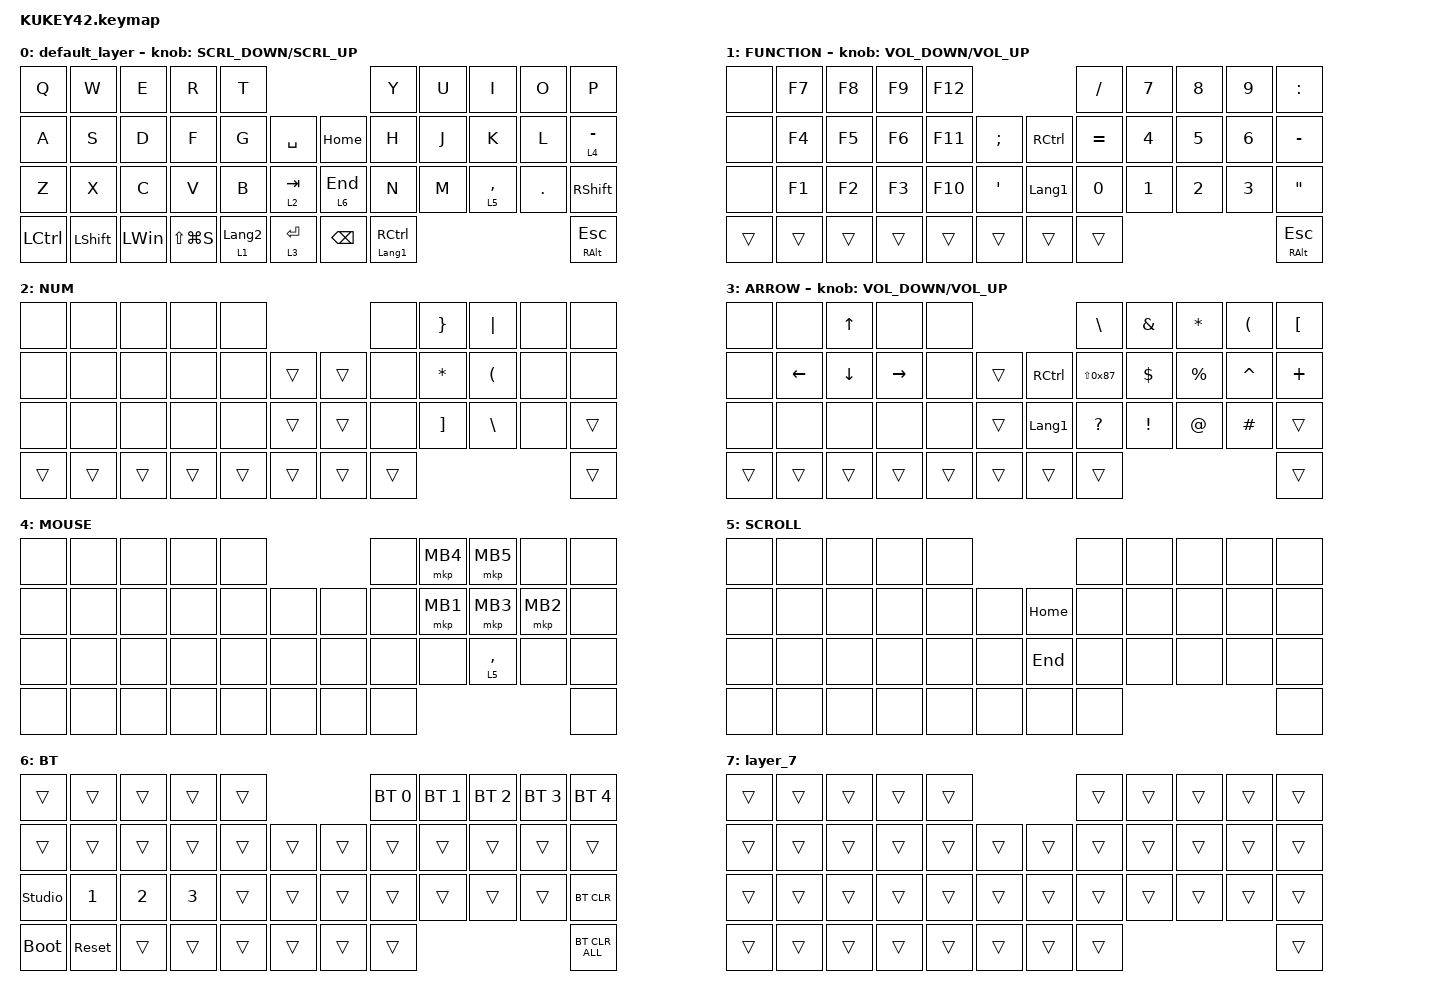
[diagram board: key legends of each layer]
#define ZMK_POINTING_DEFAULT_SCRL_VAL 80

#include <mouse-gesture.dtsi>
#include <behaviors.dtsi>
#include <dt-bindings/zmk/bt.h>
#include <dt-bindings/zmk/keys.h>
#include <dt-bindings/zmk/pointing.h>

#define MOUSE 4
#define SCROLL 5
#define NUM 6

// OS設定を日本語キーボードのまま使用するための変換定義

#define JP_DQUOTE       AT                // "
#define JP_AMPERSAND    CARET             // &
#define JP_QUOTE        AMPERSAND         // '
#define JP_EQUAL        UNDER             // =
#define JP_CARET        EQUAL             // ^
#define JP_YEN          0x89              // ¥
#define JP_PLUS         COLON             // +
#define JP_TILDE        PLUS              // ~
#define JP_PIPE         LS(0x89)          // |
#define JP_AT           LEFT_BRACKET      // @
#define JP_COLON        SINGLE_QUOTE      // :
#define JP_ASTERISK     DOUBLE_QUOTES     // *
#define JP_BACKQUOTE    LEFT_BRACE        // `
#define JP_UNDERSCORE   LS(0x87)          // _
#define JP_LBRACKET     RIGHT_BRACKET     // [
#define JP_RBRACKET     BACKSLASH         // ]
#define JP_LPAREN       ASTERISK          // (
#define JP_RPAREN       LEFT_PARENTHESIS  // )
#define JP_LBRACE       RIGHT_BRACE       // {
#define JP_RBRACE       PIPE              // }
#define JP_KANA         LANGUAGE_1        // かな
#define JP_EISU         LANGUAGE_2        // 英数
#define JP_HANZEN       GRAVE             // 半角/全角

&mt {
    flavor = "balanced";
    quick-tap-ms = <0>;
};

// マウスジェスチャー: Pキー長押し中にトラックボールを動かすと発動
// 右 = 次のタブ(Ctrl+Tab) / 左 = 前のタブ(Ctrl+Shift+Tab)

&zip_mouse_gesture {
    enable-eager-mode;
    suppress-movement;

    tab_next {
        pattern = <GESTURE_RIGHT>;
        bindings = <&kp LC(TAB)>;
    };

    tab_prev {
        pattern = <GESTURE_LEFT>;
        bindings = <&kp LC(LS(TAB))>;
    };
};

/ {
    combos { compatible = "zmk,combos"; };

    macros {
    };

    mkp_exit_AML: mkp_exit_AML {
        compatible = "zmk,behavior-macro-one-param";
        #binding-cells = <1>;
        bindings =
            <&macro_press>,
            <&macro_param_1to1 &mkp MACRO_PLACEHOLDER>,
            <&macro_pause_for_release>,
            <&macro_release>,
            <&macro_param_1to1 &mkp MACRO_PLACEHOLDER>,
            <&macro_tap>,
            <&sl 4>;

        label = "MKP_EXIT_AML";
    };

    to_layer_0: to_layer_0 {
        compatible = "zmk,behavior-macro-one-param";
        #binding-cells = <1>;
        bindings = <&to 0 &macro_param_1to1 &kp MACRO_PLACEHOLDER>;
        label = "TO_LAYER_0";
    };

    behaviors {
        lt_to_layer_0: lt_to_layer_0 {
            compatible = "zmk,behavior-hold-tap";
            label = "LAYER_TAP_TO_0";
            bindings = <&mo>, <&to>;

            #binding-cells = <2>;
            tapping-term-ms = <200>;
        };

        tapdance_kana: tapdance_kana {
            compatible = "zmk,behavior-tap-dance";
            label = "TAPDANCE_KANA";
            #binding-cells = <0>;
            bindings = <&kp INT2>, <&kp LANGUAGE_2>, <&sl 2>;

            tapping-term-ms = <400>;
        };

        WheelScroll: WheelScroll {
            compatible = "zmk,behavior-sensor-rotate-var";
            label = "WHEELSCROLL";
            #sensor-binding-cells = <2>;
            bindings = <&msc>, <&msc>;

            tap-ms = <20>;
        };
    };

    keymap {
        compatible = "zmk,keymap";

        default_layer {
            bindings = <
&kp Q             &kp W           &kp E         &kp R          &kp T                                          &kp Y                &kp U  &kp I        &kp O    &kp P
&kp A             &kp S           &kp D         &kp F          &kp G          &kp SPACE        &kp HOME       &kp H                &kp J  &kp K        &kp L    &lt 4 MINUS
&kp Z             &kp X           &kp C         &kp V          &kp B          &lt 2 TAB        &lt 6 END      &kp N                &kp M  &lt 5 COMMA  &kp DOT  &kp RIGHT_SHIFT
&kp LEFT_CONTROL  &kp LEFT_SHIFT  &kp LEFT_WIN  &kp LS(LG(S))  &lt 1 JP_EISU  &lt 3 ENTER      &kp BACKSPACE  &mt JP_KANA RIGHT_CONTROL                         &mt RIGHT_ALT ESC
            >;

            sensor-bindings = <&WheelScroll SCRL_DOWN SCRL_UP>;
        };

        FUNCTION {
            bindings = <
&none   &kp F7  &kp F8  &kp F9  &kp F12                                        &kp SLASH     &kp NUMBER_7  &kp NUMBER_8  &kp NUMBER_9  &kp JP_PLUS
&none   &kp F4  &kp F5  &kp F6  &kp F11  &kp SEMICOLON      &kp RIGHT_CONTROL  &kp JP_CARET  &kp NUMBER_4  &kp NUMBER_5  &kp NUMBER_6  &kp MINUS
&none   &kp F1  &kp F2  &kp F3  &kp F10  &kp JP_COLON       &kp JP_KANA        &kp NUMBER_0  &kp NUMBER_1  &kp NUMBER_2  &kp NUMBER_3  &kp JP_ASTERISK
&trans  &trans  &trans  &trans  &trans   &trans             &trans             &trans                                                  &mt RIGHT_ALT ESC
            >;

            sensor-bindings = <&inc_dec_kp C_VOLUME_DOWN C_VOLUME_UP>;
        };

        NUM {
            bindings = <
&none   &none   &none   &none   &none                       &none   &kp JP_LBRACE    &kp JP_RBRACE    &none  &none
&none   &none   &none   &none   &none   &trans      &trans  &none   &kp JP_LPAREN    &kp JP_RPAREN    &none  &none
&none   &none   &none   &none   &none   &trans      &trans  &none   &kp JP_LBRACKET  &kp JP_RBRACKET  &none  &trans
&trans  &trans  &trans  &trans  &trans  &trans      &trans  &trans                                           &trans
            >;
        };

        ARROW {
            bindings = <
&none   &none     &kp UP    &none      &none                                  &kp BACKSLASH      &kp JP_QUOTE     &kp JP_LPAREN  &kp JP_RPAREN     &kp JP_AT
&none   &kp LEFT  &kp DOWN  &kp RIGHT  &none   &trans      &kp RIGHT_CONTROL  &kp JP_UNDERSCORE  &kp DLLR         &kp PRCNT      &kp JP_AMPERSAND  &kp JP_TILDE
&none   &none     &none     &none      &none   &trans      &kp JP_KANA        &kp QUESTION       &kp EXCLAMATION  &kp JP_DQUOTE  &kp POUND         &trans
&trans  &trans    &trans    &trans     &trans  &trans      &trans             &trans                                                               &trans
            >;

            sensor-bindings = <&inc_dec_kp C_VOLUME_DOWN C_VOLUME_UP>;
        };

        MOUSE {
            bindings = <
&none  &none  &none  &none  &none                    &none  &mkp MB4  &mkp MB5     &none     &none
&none  &none  &none  &none  &none  &none      &none  &none  &mkp MB1  &mkp MB3     &mkp MB2  &none
&none  &none  &none  &none  &none  &none      &none  &none  &none     &lt 5 COMMA  &none     &none
&none  &none  &none  &none  &none  &none      &none  &none                                   &none
            >;
        };

        SCROLL {
            bindings = <
&none  &none  &none  &none  &none                       &none  &none  &none  &none  &none
&none  &none  &none  &none  &none  &none      &kp HOME  &none  &none  &none  &none  &none
&none  &none  &none  &none  &none  &none      &kp END   &none  &none  &none  &none  &none
&none  &none  &none  &none  &none  &none      &none     &none                       &none
            >;
        };

        BT {
            bindings = <
&trans          &trans        &trans        &trans        &trans                      &bt BT_SEL 0  &bt BT_SEL 1  &bt BT_SEL 2  &bt BT_SEL 3  &bt BT_SEL 4
&trans          &trans        &trans        &trans        &trans  &trans      &trans  &trans        &trans        &trans        &trans        &trans
&studio_unlock  &kp NUMBER_1  &kp NUMBER_2  &kp NUMBER_3  &trans  &trans      &trans  &trans        &trans        &trans        &trans        &bt BT_CLR
&bootloader     &sys_reset    &trans        &trans        &trans  &trans      &trans  &trans                                                  &bt BT_CLR_ALL
            >;
        };

        layer_7 {
            bindings = <
&trans  &trans  &trans  &trans  &trans                      &trans  &trans  &trans  &trans  &trans
&trans  &trans  &trans  &trans  &trans  &trans      &trans  &trans  &trans  &trans  &trans  &trans
&trans  &trans  &trans  &trans  &trans  &trans      &trans  &trans  &trans  &trans  &trans  &trans
&trans  &trans  &trans  &trans  &trans  &trans      &trans  &trans                          &trans
            >;
        };
    };
};
